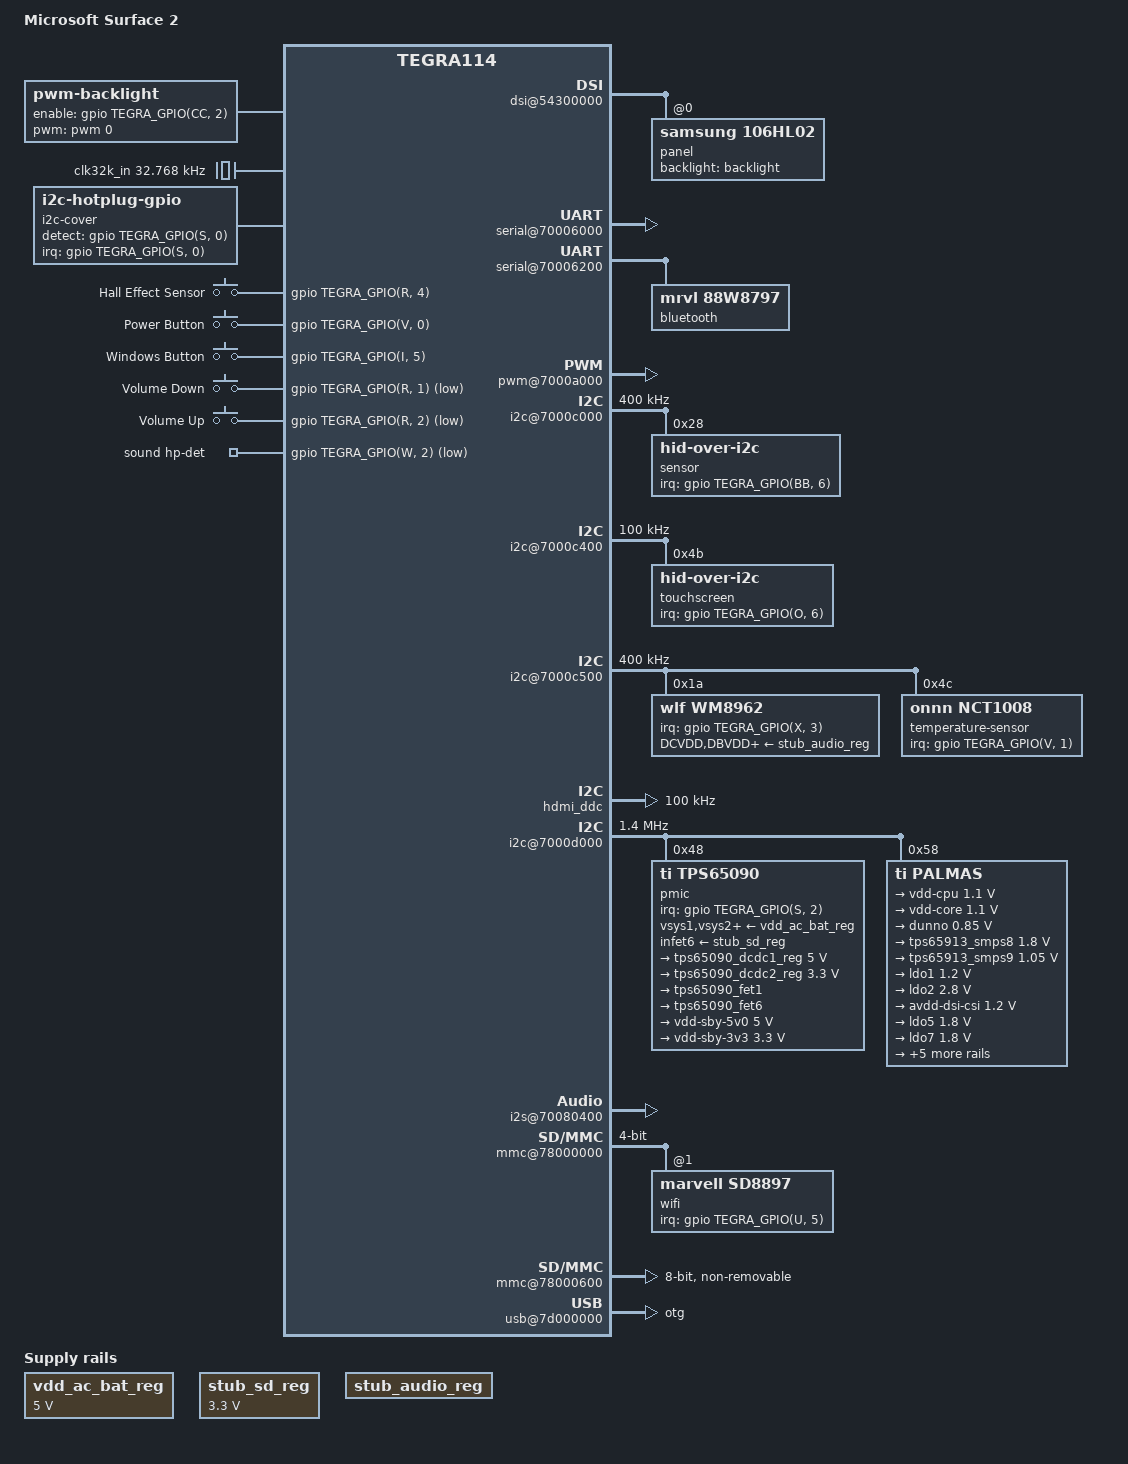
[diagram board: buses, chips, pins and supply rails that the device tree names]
// SPDX-License-Identifier: GPL-2.0
/*
 * tegra114-surface2.dts -- Device tree for Microsoft Surface 2 (Tegra 4 / T114)
 *
 * Merged from three sources:
 *   1. Andrew Lee / Open-Surface-RT grate-linux DTS  (tested, boots)
 *   2. grate-linux EFI variant DTS                   (WiFi, cover, touch)
 *   3. Live Windows RT registry data                 (ground-truth addresses)
 *
 * Compile via kernel build system:
 *   cp dts/tegra114-surface2.dts $KERNEL/arch/arm/boot/dts/
 *   make tegra114-surface2.dtb
 *
 * CONFLICTS between sources are documented inline.  Where Andrew's values
 * are tested-working they are kept; registry data is noted as TODO.
 */

/dts-v1/;

#include "tegra114.dtsi"
#include <dt-bindings/input/input.h>

/ {
	model = "Microsoft Surface 2";
	compatible = "microsoft,surface-2-efi", "microsoft,surface-2", "nvidia,tegra114";

	aliases {
		mmc0 = &sdmmc4; /* eMMC */
		mmc1 = &sdmmc3; /* SD card slot (disabled -- UART pin conflict) */
		mmc2 = &sdmmc1; /* WiFi (Marvell 88W8797) */

		rtc0 = &palmas;
		rtc1 = "/rtc@7000e000";

		serial0 = &uarta; /* debug console */
	};

	chosen {
		stdout-path = "serial0:115200n8";
	};

	/* --- Display (Samsung LTL106HL02, 1920x1080, DSI) --------------- */
	/* REGISTRY: NVDA0205 GPU at 0x50000000 */
	host1x@50000000 {
		dsi@54300000 {
			status = "okay";

			panel@0 {
				compatible = "samsung,106hl02";
				reg = <0>;
				backlight = <&backlight>;
				/* Power supply unclear -- Andrew notes FET4 needed
				 * but regulator connection TBD */
			};
		};

		/* HDMI video output -- micro-HDMI port
		 * REGISTRY: NVDA010F HDA at 0x70030000 (audio side enabled below)
		 * TODO: Verify HPD (hot-plug detect) GPIO and supply rails.
		 * tegra114.dtsi defines hdmi@54280000; enable when tested:
		 *
		 * hdmi@54280000 {
		 *     status = "okay";
		 *     nvidia,ddc-i2c-bus = <&hdmi_ddc>;
		 *     nvidia,hpd-gpio = <&gpio TEGRA_GPIO(N, 7) GPIO_ACTIVE_HIGH>;
		 *     // hdmi-supply, pll-supply, vdd-supply TBD
		 * };
		 */
	};

	/* --- Pinmux ----------------------------------------------------- */
	/* Source: Andrew (tested) */
	pinmux@70000868 {
		pinctrl-names = "default";
		pinctrl-0 = <&state_default>;

		state_default: pinmux {
			/* UART-A RX (debug console) */
			sdmmc3_cmd_pa7 {
				nvidia,pins = "sdmmc3_cmd_pa7";
				nvidia,function = "uarta";
				nvidia,pull = <TEGRA_PIN_PULL_DOWN>;
				nvidia,tristate = <TEGRA_PIN_ENABLE>;
				nvidia,enable-input = <TEGRA_PIN_ENABLE>;
			};

			/* UART-A TX (debug console) */
			sdmmc3_dat1_pb6 {
				nvidia,pins = "sdmmc3_dat1_pb6";
				nvidia,function = "uarta";
				nvidia,pull = <TEGRA_PIN_PULL_NONE>;
				nvidia,tristate = <TEGRA_PIN_DISABLE>;
				nvidia,enable-input = <TEGRA_PIN_DISABLE>;
			};

			/* PWM backlight */
			panel-backlight {
				nvidia,pins = "gmi_ad8_ph0";
				nvidia,function = "pwm0";
				nvidia,pull = <TEGRA_PIN_PULL_NONE>;
				nvidia,tristate = <TEGRA_PIN_DISABLE>;
				nvidia,enable-input = <TEGRA_PIN_DISABLE>;
			};
		};
	};

	/* --- UART-A (debug console) ------------------------------------- */
	/* REGISTRY: NVDA0100\0 at 0x70006000 */
	serial@70006000 {
		status = "okay";
	};

	/* --- UART-C (Bluetooth) ----------------------------------------- */
	/* REGISTRY: NVDA0100\2 at 0x70006200
	 * Bluetooth: NVDAF000 Marvell AVASTAR, WinRT: mbtu97w8
	 * Linux: CONFIG_BT_HCIUART_MARVELL + CONFIG_SERIAL_DEV_BUS
	 * Firmware: /lib/firmware/mrvl/sd8797_uapsta.bin (shared with WiFi)
	 * NOTE: Not in Andrew's DTS -- added from registry data. */
	serial@70006200 {
		status = "okay";

		bluetooth {
			compatible = "mrvl,88w8797";
			/* TODO: verify exact DT compatible for UART BT.
			 * May need max-speed = <3000000>; */
		};
	};

	/* UART-B (0x70006040) and UART-E (0x70006400) NOT enumerated
	 * on live system -- left disabled (tegra114.dtsi default) */

	/* --- PWM -------------------------------------------------------- */
	pwm@7000a000 {
		status = "okay";
	};

	/* --- I2C1: Sensor Hub (+ Touch/Cover via hotplug) --------------- */
	/* REGISTRY: NVDA0101\1 at 0x7000C000, IRQ 70 */
	i2c@7000c000 {
		status = "okay";
		clock-frequency = <400000>;

		/* Sensor hub / HID collection at 0x28
		 * Source: Andrew (tested, works)
		 * CONFLICT: Registry says MSHW0102 sensor hub is at 0x3D.
		 *   Andrew's 0x28 boots and works -- keep it.
		 *   The 0x28 may be a shared HID collection address.
		 *   Try changing to 0x3D if sensor data is wrong.
		 * REGISTRY also shows MSHW0100 touch at 0x3B on I2C1.
		 *   Andrew puts touch on I2C2 instead (see below). */
		sensor@28 {
			compatible = "hid-over-i2c";
			reg = <0x28>;
			hid-descr-addr = <0x0001>;
			interrupt-parent = <&gpio>;
			interrupts = <TEGRA_GPIO(BB, 6) IRQ_TYPE_LEVEL_LOW>;
		};
	};

	/* --- I2C2: Touchscreen ------------------------------------------ */
	/* REGISTRY: NVDA0101\2 at 0x7000C400, IRQ 116
	 * Source: Andrew EFI DTS -- touch at 0x4b on I2C2
	 * Andrew's note: "Doesn't work for APX. Device doesn't show up
	 *   at all or disconnects"
	 * CONFLICT: Registry says MSHW0100 touch is at 0x3B on I2C1.
	 *   Both addresses may be valid depending on boot mode (EFI vs APX).
	 *   TODO: Test 0x3B on I2C1 if 0x4b on I2C2 doesn't work. */
	i2c@7000c400 {
		status = "okay";
		clock-frequency = <100000>;

		touchscreen@4b {
			compatible = "hid-over-i2c";
			reg = <0x4b>;
			hid-descr-addr = <0x0000>;
			interrupt-parent = <&gpio>;
			interrupts = <TEGRA_GPIO(O, 6) IRQ_TYPE_LEVEL_LOW>;
			/* vdd-supply = <&touchscreen_reg>; */
		};
	};

	/* --- I2C3: Audio codec + Temperature sensor --------------------- */
	/* REGISTRY: NVDA0101\3 at 0x7000C500, IRQ 124
	 * Source: Andrew (tested) -- WM8962 confirmed on I2C3
	 * NOTE: Our earlier docs wrongly said I2C2; corrected here. */
	i2c@7000c500 {
		status = "okay";
		clock-frequency = <400000>;

		wm8962: audio-codec@1a {
			compatible = "wlf,wm8962";
			reg = <0x1a>;
			interrupt-parent = <&gpio>;
			interrupts = <TEGRA_GPIO(X, 3) IRQ_TYPE_LEVEL_HIGH>;

			DCVDD-supply = <&stub_audio_reg>;
			DBVDD-supply = <&stub_audio_reg>;
			AVDD-supply = <&stub_audio_reg>;
			CPVDD-supply = <&stub_audio_reg>;
			MICVDD-supply = <&stub_audio_reg>;
			PLLVDD-supply = <&stub_audio_reg>;
			SPKVDD1-supply = <&stub_audio_reg>;
			SPKVDD2-supply = <&stub_audio_reg>;
		};

		/* External temp sensor -- used by thermal zones TZ03/TZ04
		 * DSDT: DHTH method reads via I2C3 */
		temperature-sensor@4c {
			compatible = "onnn,nct1008";
			reg = <0x4c>;
			interrupt-parent = <&gpio>;
			interrupts = <TEGRA_GPIO(V, 1) IRQ_TYPE_EDGE_FALLING>;
		};
	};

	/* --- I2C4: HDMI DDC --------------------------------------------- */
	/* REGISTRY: NVDA0101\4 at 0x7000C700, IRQ 152
	 * Source: Andrew (tested) -- this is HDMI DDC, not "misc" */
	hdmi_ddc: i2c@7000c700 {
		status = "okay";
		clock-frequency = <100000>;
	};

	/* --- I2C5: PMIC + Charger + Camera ------------------------------ */
	/* REGISTRY: NVDA0101\5 at 0x7000D000, IRQ 85 */
	i2c@7000d000 {
		status = "okay";
		clock-frequency = <1400000>;

		/* TPS65090 -- Battery charger, DCDC, FET switches
		 * Source: Andrew (tested) + registry confirmed @0x48 */
		pmic@48 {
			compatible = "ti,tps65090";
			reg = <0x48>;

			interrupt-parent = <&gpio>;
			interrupts = <TEGRA_GPIO(S, 2) IRQ_TYPE_LEVEL_HIGH>;

			vsys1-supply = <&vdd_ac_bat_reg>;
			vsys2-supply = <&vdd_ac_bat_reg>;
			vsys-l1-supply = <&vdd_ac_bat_reg>;
			vsys-l2-supply = <&vdd_ac_bat_reg>;

			infet6-supply = <&stub_sd_reg>;

			charger {
				compatible = "ti,tps65090-charger";
				ti,enable-low-current-chrg;
			};

			regulators {
				tps65090_dcdc1_reg: dcdc1 {
					regulator-name = "vdd-sys-5v0";
					regulator-min-microvolt = <5000000>;
					regulator-max-microvolt = <5000000>;
					ti,enable-ext-control;
				};

				tps65090_dcdc2_reg: dcdc2 {
					regulator-name = "vdd-sys-3v3";
					regulator-min-microvolt = <3300000>;
					regulator-max-microvolt = <3300000>;
					ti,enable-ext-control;
				};

				tps65090_dcdc3_reg: dcdc3 {
					ti,enable-ext-control;
				};

				/* FET1: panel-related (Andrew) */
				tps65090_fet1: fet1 {
					regulator-name = "something-panel";
					regulator-always-on;
					regulator-boot-on;
				};

				/* FET2: HDMI/USB reverse-current protected */
				tps65090_fet2: fet2 {
					regulator-always-on;
					regulator-boot-on;
				};

				/* FET4: panel-related (Andrew) */
				tps65090_fet4: fet4 {
					regulator-always-on;
					regulator-boot-on;
				};

				/* FET5: crash if enabled -- PowerGood missing */

				/* FET6: SD card power */
				tps65090_fet6: fet6 {
					regulator-name = "vdd-sd-slot";
					regulator-always-on;
				};

				ldo1 {
					regulator-name = "vdd-sby-5v0";
					regulator-min-microvolt = <5000000>;
					regulator-max-microvolt = <5000000>;
					regulator-always-on;
					regulator-boot-on;
				};

				ldo2 {
					regulator-name = "vdd-sby-3v3";
					regulator-min-microvolt = <3300000>;
					regulator-max-microvolt = <3300000>;
					regulator-always-on;
					regulator-boot-on;
				};
			};
		};

		/* TPS65913 (Palmas) -- Main PMIC
		 * Source: Andrew (tested) + registry NVDAF242 @0x58
		 * Regulators: SMPS + LDO rails for CPU, core, I/O, camera */
		palmas: pmic@58 {
			compatible = "ti,palmas";
			reg = <0x58>;
			interrupts = <GIC_SPI 86 IRQ_TYPE_LEVEL_HIGH>;

			#interrupt-cells = <2>;
			interrupt-controller;

			ti,system-power-controller;
			ti,power-ctrl;

			palmas_gpio: gpio {
				compatible = "ti,palmas-gpio";
				gpio-controller;
				#gpio-cells = <2>;
			};

			palmas_clk32kgaudio@0 {
				compatible = "ti,palmas-clk32kgaudio";
				#clock-cells = <0>;
			};

			pmic {
				compatible = "ti,tps65913-pmic", "ti,palmas-pmic";

				ldo9-in-supply = <&stub_sd_reg>;
				ldousb-in-supply = <&stub_audio_reg>;

				regulators {
					smps123 {
						regulator-name = "vdd-cpu";
						regulator-min-microvolt = <1100000>;
						regulator-max-microvolt = <1100000>;
						regulator-always-on;
						regulator-boot-on;
						ti,roof-floor = <1>;
						ti,mode-sleep = <0>;
						regulator-ramp-delay = <2500>;
						ti,warm-reset;
					};

					smps457 {
						regulator-name = "vdd-core";
						regulator-min-microvolt = <1100000>;
						regulator-max-microvolt = <1100000>;
						regulator-always-on;
						regulator-boot-on;
						ti,roof-floor = <1>;
						ti,mode-sleep = <0>;
						regulator-ramp-delay = <5000>;
						ti,warm-reset;
					};

					smps6 {
						regulator-name = "dunno";
						regulator-min-microvolt = <850000>;
						regulator-max-microvolt = <850000>;
						ti,roof-floor = <1>;
						ti,mode-sleep = <0>;
						regulator-ramp-delay = <5000>;
						ti,warm-reset;
					};

					tps65913_smps8: smps8 {
						regulator-name = "vdd-1v8";
						regulator-min-microvolt = <1800000>;
						regulator-max-microvolt = <1800000>;
						regulator-always-on;
						regulator-boot-on;
						ti,roof-floor = <1>;
						ti,mode-sleep = <0>;
						regulator-ramp-delay = <5000>;
						ti,warm-reset;
					};

					tps65913_smps9: smps9 {
						regulator-name = "vdd-1v05";
						regulator-min-microvolt = <1050000>;
						regulator-max-microvolt = <1050000>;
						regulator-always-on;
						ti,warm-reset;
					};

					/* LDO1: 1.2V (camera AVDD per SSDT) */
					ldo1 {
						regulator-min-microvolt = <1200000>;
						regulator-max-microvolt = <1200000>;
						regulator-always-on;
						regulator-boot-on;
					};

					/* LDO2: 2.8V (camera DOVDD per SSDT) */
					ldo2 {
						regulator-min-microvolt = <2800000>;
						regulator-max-microvolt = <2800000>;
						regulator-always-on;
						regulator-boot-on;
					};

					/* LDO3: AVDD-DSI-CSI */
					ldo3 {
						regulator-name = "avdd-dsi-csi";
						regulator-min-microvolt = <1200000>;
						regulator-max-microvolt = <1200000>;
						regulator-always-on;
						regulator-boot-on;
					};

					/* LDO5: 1.8V (camera DVDD per SSDT) */
					ldo5 {
						regulator-min-microvolt = <1800000>;
						regulator-max-microvolt = <1800000>;
						regulator-always-on;
						regulator-boot-on;
					};

					/* LDO7: 1.8V (front camera AVDD per SSDT) */
					ldo7 {
						regulator-min-microvolt = <1800000>;
						regulator-max-microvolt = <1800000>;
						regulator-always-on;
						regulator-boot-on;
					};

					ldo8 {
						regulator-name = "vdd-rtc";
						regulator-min-microvolt = <1200000>;
						regulator-max-microvolt = <1200000>;
						regulator-always-on;
						regulator-boot-on;
					};

					tps65913_ldo9: ldo9 {
						regulator-name = "vddio-sdmmc-2";
						regulator-min-microvolt = <1800000>;
						regulator-max-microvolt = <3300000>;
						regulator-always-on;
					};

					ldoln {
						regulator-min-microvolt = <1800000>;
						regulator-max-microvolt = <1800000>;
						regulator-always-on;
					};

					ldousb {
						regulator-name = "avdd-usb";
						regulator-min-microvolt = <3300000>;
						regulator-max-microvolt = <3300000>;
						regulator-always-on;
						regulator-boot-on;
					};

					regen2 {
						regulator-max-microvolt = <5000000>;
						regulator-always-on;
						regulator-boot-on;
					};

					sysen1 {
					};
				};
			};

			rtc {
				compatible = "ti,palmas-rtc";
				interrupt-parent = <&palmas>;
				interrupts = <8 0>;
			};
		};
	};

	/* --- PMC -------------------------------------------------------- */
	/* Source: Andrew (tested) */
	pmc@7000e400 {
		nvidia,invert-interrupt;
		nvidia,suspend-mode = <2>;
		nvidia,cpu-pwr-good-time = <300>;
		nvidia,cpu-pwr-off-time = <300>;
		nvidia,core-pwr-good-time = <641 3845>;
		nvidia,core-pwr-off-time = <2000>;
		nvidia,core-power-req-active-high;
		nvidia,sys-clock-req-active-high;

		/* Thermal trip: clear DEV_ON in TPS65913 to shut down */
		i2c-thermtrip {
			nvidia,i2c-controller-id = <4>;
			nvidia,bus-addr = <0x58>;
			nvidia,reg-addr = <0xA0>;
			nvidia,reg-data = <0x00>;
		};
	};

	/* --- HDA (HDMI Audio) ------------------------------------------- */
	/* REGISTRY: NVDA010F at 0x70030000, driver HDAudBus */
	hda@70030000 {
		status = "okay";
	};

	/* --- Audio Hub (I2S) -------------------------------------------- */
	/* REGISTRY: NVDA0107 at 0x70080000 */
	ahub@70080000 {
		i2s@70080400 {
			status = "okay";
		};
	};

	/* --- WiFi -- SDMMC1 (Marvell 88W8797) --------------------------- */
	/* Source: Andrew EFI DTS (tested)
	 * REGISTRY: NVDA0212\0 at 0x78000000
	 * NOTE: WiFi is on SDMMC1 (0x78000000), NOT SDMMC3.
	 *   Our earlier docs had WiFi/SD slots swapped -- corrected.
	 * Andrew's note: "Firmware doesn't come active in time" */
	mmc@78000000 {
		#address-cells = <1>;
		#size-cells = <0>;

		status = "okay";

		bus-width = <4>;
		cap-power-off-card;
		keep-power-in-suspend;
		max-frequency = <100000000>;

		assigned-clocks = <&tegra_car TEGRA114_CLK_SDMMC1>;
		assigned-clock-parents = <&tegra_car TEGRA114_CLK_PLL_C>;
		assigned-clock-rates = <100000000>;

		mmc-pwrseq = <&mrvl_wifi_pwrseq>;

		wifi@1 {
			compatible = "marvell,sd8897";
			reg = <1>;
			interrupt-parent = <&gpio>;
			interrupts = <TEGRA_GPIO(U, 5) IRQ_TYPE_LEVEL_LOW>;
		};
	};

	/* --- SD Card -- SDMMC3 ------------------------------------------ */
	/* REGISTRY: NVDA0212\2 at 0x78000400
	 * Source: Andrew (tested) -- DISABLED due to UART-A pin conflict.
	 *   SDMMC3 CMD/DAT pins are muxed to UART-A for debug console.
	 *   Cannot use SD card and debug console simultaneously. */
	mmc@78000400 {
		status = "disabled";
		bus-width = <4>;
		cd-gpios = <&gpio TEGRA_GPIO(V, 2) GPIO_ACTIVE_LOW>;
	};

	/* --- eMMC -- SDMMC4 --------------------------------------------- */
	/* REGISTRY: NVDA0212\3 at 0x78000600, SK Hynix 32/64GB */
	mmc@78000600 {
		status = "okay";
		bus-width = <8>;
		non-removable;
	};

	/* --- USB1 (EHCI, external port) --------------------------------- */
	/* REGISTRY: NVDA0203\0
	 * Source: Andrew (tested) -- OTG mode */
	usb@7d000000 {
		status = "okay";
		compatible = "nvidia,tegra114-udc";
		dr_mode = "otg";
	};

	usb-phy@7d000000 {
		status = "okay";
		/* TODO: vbus-supply */
	};

	/* USB2 (0x7D004000) -- Internal HSIC. REGISTRY: NVDA0203\1.
	 * DSDT: "USB2 _STA forced off". Left disabled. */

	/* USB3 (0x7D008000) -- HSIC, modem (absent on WiFi-only Surface 2).
	 * NOT ENUMERATED in registry. Left disabled. */

	/* XUSB (0x70090000, NVDA0214) -- xHCI, known unreliable.
	 * Left disabled; kernel config builds as module for testing. */

	/* --- Backlight -------------------------------------------------- */
	/* Source: Andrew (tested) */
	backlight: backlight {
		compatible = "pwm-backlight";

		enable-gpios = <&gpio TEGRA_GPIO(CC, 2) GPIO_ACTIVE_HIGH>;
		pwms = <&pwm 0 100000>;

		brightness-levels = <1 255>;
		num-interpolated-steps = <254>;
		default-brightness-level = <128>;
	};

	/* --- 32 kHz Clock ----------------------------------------------- */
	clk32k_in: clock-32 {
		compatible = "fixed-clock";
		clock-frequency = <32768>;
		#clock-cells = <0>;
	};

	/* --- Type Cover (I2C hotplug) ----------------------------------- */
	/* Source: Andrew EFI DTS
	 * Andrew's note: "Works for APX but only after replug.
	 *   Not immediately after boot. Not acceptable for now." */
	i2c-cover {
		compatible = "i2c-hotplug-gpio";

		#address-cells = <1>;
		#size-cells = <0>;

		interrupts-extended = <&gpio TEGRA_GPIO(S, 0) IRQ_TYPE_EDGE_BOTH>;
		detect-gpios = <&gpio TEGRA_GPIO(S, 0) GPIO_ACTIVE_HIGH>;

		i2c-parent = <&i2c1>;

		cover@0 {
			compatible = "hid-over-i2c";
			reg = <0x00>;
			hid-descr-addr = <0x0041>;
			interrupt-parent = <&gpio>;
			interrupts = <TEGRA_GPIO(C, 7) IRQ_TYPE_LEVEL_LOW>;
		};
	};

	/* --- WiFi Power Sequence ---------------------------------------- */
	/* Source: Andrew EFI DTS */
	mrvl_wifi_pwrseq: wifi-pwrseq {
		compatible = "mmc-pwrseq-simple";

		clocks = <&tegra_pmc TEGRA_PMC_CLK_BLINK>;
		clock-names = "ext_clock";

		post-power-on-delay-ms = <300>;
		power-off-delay-us = <300>;
		/* Reset and enable GPIOs: K0, K2, K4 */
	};

	/* --- Lid / Hall Effect Sensor ----------------------------------- */
	/* REGISTRY: PNP0C0D. Source: Andrew (tested, GPIO R4) */
	gpio-hall-sensor {
		compatible = "gpio-keys";

		label = "GPIO Hall Effect Sensor";

		hall-sensor {
			label = "Hall Effect Sensor";
			gpios = <&gpio TEGRA_GPIO(R, 4) GPIO_ACTIVE_HIGH>;
			linux,input-type = <EV_SW>;
			linux,code = <SW_LID>;
			linux,can-disable;
			wakeup-source;
		};
	};

	/* --- GPIO Buttons ----------------------------------------------- */
	/* REGISTRY: NVDAF180 (PNP0C40). Source: Andrew (tested) */
	gpio-keys {
		compatible = "gpio-keys";

		label = "GPIO Buttons";

		power {
			label = "Power Button";
			gpios = <&gpio TEGRA_GPIO(V, 0) GPIO_ACTIVE_HIGH>;
			linux,code = <KEY_POWER>;
			debounce-interval = <10>;
			wakeup-source;
		};

		windows-button {
			label = "Windows Button";
			gpios = <&gpio TEGRA_GPIO(I, 5) GPIO_ACTIVE_HIGH>;
			linux,code = <KEY_LEFTMETA>;
			debounce-interval = <10>;
			wakeup-source;
		};

		volume-down {
			label = "Volume Down";
			gpios = <&gpio TEGRA_GPIO(R, 1) GPIO_ACTIVE_LOW>;
			linux,code = <KEY_VOLUMEDOWN>;
			debounce-interval = <10>;
		};

		volume-up {
			label = "Volume Up";
			gpios = <&gpio TEGRA_GPIO(R, 2) GPIO_ACTIVE_LOW>;
			linux,code = <KEY_VOLUMEUP>;
			debounce-interval = <10>;
		};
	};

	/* --- Sound ------------------------------------------------------ */
	/* Source: Andrew (tested) */
	sound {
		compatible = "nvidia,tegra-audio-wm8962";
		nvidia,model = "NVIDIA Tegra Surface 2";

		nvidia,audio-routing =
			"Headphone Jack", "HPOUTR",
			"Headphone Jack", "HPOUTL",
			"Int Spk", "SPKOUTR",
			"Int Spk", "SPKOUTL";

		nvidia,i2s-controller = <&tegra_i2s1>;
		nvidia,audio-codec = <&wm8962>;

		nvidia,hp-det-gpios = <&gpio TEGRA_GPIO(W, 2) GPIO_ACTIVE_LOW>;

		clocks = <&tegra_car TEGRA114_CLK_PLL_A>,
			 <&tegra_car TEGRA114_CLK_PLL_A_OUT0>,
			 <&tegra_pmc TEGRA_PMC_CLK_OUT_1>;
		clock-names = "pll_a", "pll_a_out0", "mclk";

		assigned-clocks = <&tegra_car TEGRA114_CLK_EXTERN1>,
				  <&tegra_pmc TEGRA_PMC_CLK_OUT_1>;

		assigned-clock-parents = <&tegra_car TEGRA114_CLK_PLL_A_OUT0>,
					 <&tegra_car TEGRA114_CLK_EXTERN1>;
	};

	/* --- Fixed Regulators ------------------------------------------- */

	vdd_ac_bat_reg: regulator-acbat {
		compatible = "regulator-fixed";
		regulator-name = "vdd_ac_bat";
		regulator-min-microvolt = <5000000>;
		regulator-max-microvolt = <5000000>;
		regulator-always-on;
	};

	stub_sd_reg: stub_sd {
		compatible = "regulator-fixed";
		regulator-name = "stub_sd";
		regulator-min-microvolt = <3300000>;
		regulator-max-microvolt = <3300000>;
	};

	stub_audio_reg: stub_audio {
		compatible = "regulator-fixed";
		regulator-name = "stub_audio";
	};

	/* Touchscreen VDD -- GPIO K6, 70ms ramp (from DSDT)
	 * Uncomment when touch is verified */
	/*
	touchscreen_reg: touchscreen_vdd {
		compatible = "regulator-fixed";
		regulator-name = "touchscreen_vdd";
		enable-active-high;
		regulator-enable-ramp-delay = <70000>;
		gpio = <&gpio TEGRA_GPIO(K, 6) GPIO_ACTIVE_HIGH>;
		regulator-always-on;
	};
	*/

	/* Sensor Hub VDD -- GPIO X6, 100ms ramp (from DSDT)
	 * Uncomment when sensor hub is verified */
	/*
	sensor_hub_reg: sensor_hub_vdd {
		compatible = "regulator-fixed";
		regulator-name = "sensor_hub_vdd";
		enable-active-high;
		regulator-enable-ramp-delay = <100000>;
		gpio = <&gpio TEGRA_GPIO(X, 6) GPIO_ACTIVE_HIGH>;
		regulator-always-on;
	};
	*/

	/* =================================================================
	 * CAMERA -- sensor model unknown, enable when identified.
	 * SSDT: CAM0 under \_SB.GFXC, I2C5 @ 0x12
	 * GPIOs: BB3 (front reset), BB7 (rear reset), R4 (AF),
	 *        EE1 (AF enable), S1 (flash LED)
	 * Power: Palmas LDO1/2/5/7/9, TPS65090 FET1/4/6
	 * Candidates: OV5693/OV5640 (rear 5MP), OV2722/MT9M114 (front 3.5MP)
	 * ================================================================= */
};
